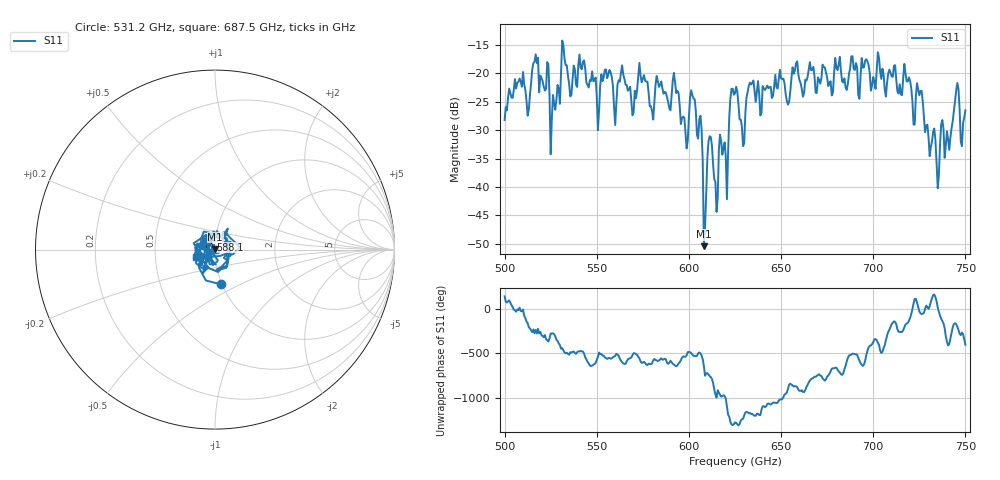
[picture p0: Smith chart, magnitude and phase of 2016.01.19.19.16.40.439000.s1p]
!Created with skrf (http://scikit-rf.org).
# GHz S RI R 50.0
!freq ReS11 ImS11
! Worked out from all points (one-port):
!   401 points, 500 GHz to 750 GHz, reference 50 ohm
!   lowest |S11| = -50.4 dB at 608.1 GHz (marker M1), VSWR 1.01, Z = 50.1 + j0.295 ohm
!   |S11| at or under -10 dB: start of sweep to end of sweep
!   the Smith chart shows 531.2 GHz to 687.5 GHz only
!   S11 on the Smith chart (normalised r, x): 531.2 GHz: 0.99, -0.39; 588.1 GHz: 0.95, +0.11; 687.5 GHz: 0.81, -0.07
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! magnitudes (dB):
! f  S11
! 500 GHz  -28.2
! 506.9 GHz  -21.7
! 513.1 GHz  -26.4
! 516.9 GHz  -16.6
! 526.2 GHz  -23.8
! 531.2 GHz  -14.2
! 550.6 GHz  -30.0
! 562.5 GHz  -21.4
! 588.1 GHz  -24.2
! 593.8 GHz  -23.1
! 598.1 GHz  -30.4
! 602.5 GHz  -24.4
! 606.2 GHz  -27.5
! 608.1 GHz  -50.4
! 611.2 GHz  -31.1
! 614.4 GHz  -39.1
! 617.5 GHz  -31.9
! 620 GHz  -34.7
! 625 GHz  -23.5
! 628.8 GHz  -29.4
! 633.8 GHz  -22.0
! 653.8 GHz  -25.5
! 656.2 GHz  -18.9
! 687.5 GHz  -19.1
! 718.8 GHz  -21.4
! 735 GHz  -40.2
! 745 GHz  -23.0
! 750 GHz  -26.5
